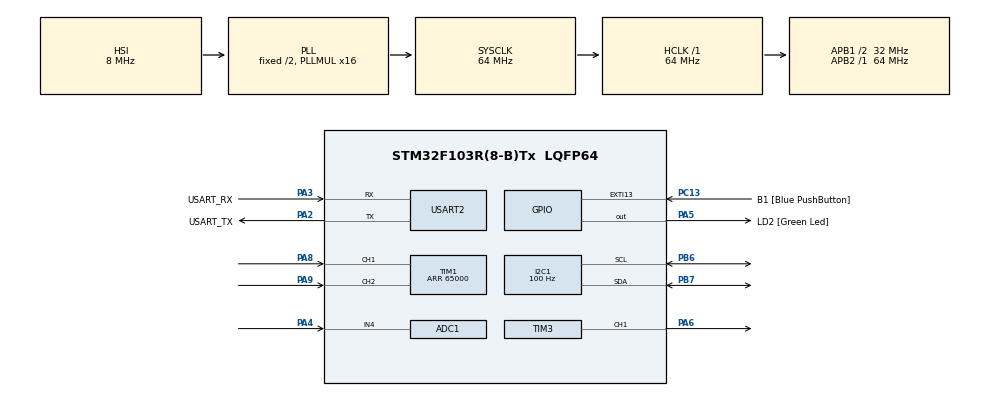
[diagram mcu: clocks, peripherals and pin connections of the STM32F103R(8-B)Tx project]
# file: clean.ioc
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ADC1.Channel-0\#ChannelRegularConversion=ADC_CHANNEL_4
ADC1.NbrOfConversionFlag=1
ADC1.Rank-0\#ChannelRegularConversion=1
ADC1.SamplingTime-0\#ChannelRegularConversion=ADC_SAMPLETIME_1CYCLE_5
ADC1.master=1
ARM.CMSIS.5.7.0.CMSISJjCORE=true
ARM.CMSIS.5.7.0.CMSISJjDSP=Library
I2C1.ClockSpeed=100
Mcu.Family=STM32F1
Mcu.Name=STM32F103R(8-B)Tx
Mcu.Package=LQFP64
NVIC.ADC1_2_IRQn=true\:0\:0\:false\:false\:true\:true\:true\:true
NVIC.EXTI15_10_IRQn=true\:0\:0\:false\:false\:true\:true\:true\:true
NVIC.PriorityGroup=NVIC_PRIORITYGROUP_4
NVIC.TIM2_IRQn=true\:0\:0\:false\:false\:true\:true\:true\:true
NVIC.USART2_IRQn=true\:0\:0\:false\:false\:true\:true\:true\:true
PA13.GPIO_Label=TMS
PA13.Mode=Serial_Wire
PA13.Signal=SYS_JTMS-SWDIO
PA14.GPIO_Label=TCK
PA14.Mode=Serial_Wire
PA14.Signal=SYS_JTCK-SWCLK
PA2.GPIO_Label=USART_TX
PA2.GPIO_Mode=GPIO_MODE_AF_PP
PA2.GPIO_PuPd=GPIO_NOPULL
PA2.GPIO_Speed=GPIO_SPEED_FREQ_LOW
PA2.Mode=Asynchronous
PA2.Signal=USART2_TX
PA3.GPIO_Label=USART_RX
PA3.GPIO_Mode=GPIO_MODE_AF_PP
PA3.GPIO_PuPd=GPIO_NOPULL
PA3.GPIO_Speed=GPIO_SPEED_FREQ_LOW
PA3.Mode=Asynchronous
PA3.Signal=USART2_RX
PA4.Signal=ADCx_IN4
PA5.GPIO_Label=LD2 [Green Led]
PA5.GPIO_ModeDefaultOutputPP=GPIO_MODE_OUTPUT_PP
PA5.GPIO_PuPd=GPIO_NOPULL
PA5.GPIO_Speed=GPIO_SPEED_FREQ_LOW
PA5.Signal=GPIO_Output
PA6.Signal=S_TIM3_CH1
PA8.Signal=S_TIM1_CH1
PA9.Signal=S_TIM1_CH2
PB3.GPIO_Label=SWO
PB3.Signal=SYS_JTDO-TRACESWO
PB6.Mode=I2C
PB6.Signal=I2C1_SCL
PB7.Mode=I2C
PB7.Signal=I2C1_SDA
PC13-TAMPER-RTC.GPIO_Label=B1 [Blue PushButton]
PC13-TAMPER-RTC.GPIO_PuPd=GPIO_NOPULL
PC13-TAMPER-RTC.Signal=GPXTI13
PC14-OSC32_IN.Mode=LSE-External-Oscillator
PC14-OSC32_IN.Signal=RCC_OSC32_IN
PC15-OSC32_OUT.Mode=LSE-External-Oscillator
PC15-OSC32_OUT.Signal=RCC_OSC32_OUT
PD0-OSC_IN.Mode=HSE-External-Clock-Source
PD0-OSC_IN.Signal=RCC_OSC_IN
PD1-OSC_OUT.Mode=HSE-External-Clock-Source
PD1-OSC_OUT.Signal=RCC_OSC_OUT
ProjectManager.HeapSize=0x200
ProjectManager.StackSize=0x400
ProjectManager.TargetToolchain=STM32CubeIDE
RCC.ADCPresc=RCC_ADCPCLK2_DIV6
RCC.AHBFreq_Value=64000000
RCC.APB1CLKDivider=RCC_HCLK_DIV2
RCC.APB1Freq_Value=32000000
RCC.APB1TimFreq_Value=64000000
RCC.APB2Freq_Value=64000000
RCC.APB2TimFreq_Value=64000000
RCC.HCLKFreq_Value=64000000
RCC.PLLMUL=RCC_PLL_MUL16
RCC.RTCClockSelection=RCC_RTCCLKSOURCE_LSE
RCC.SYSCLKFreq_VALUE=64000000
RCC.SYSCLKSource=RCC_SYSCLKSOURCE_PLLCLK
RCC.USBFreq_Value=64000000
SH.ADCx_IN4.0=ADC1_IN4,IN4
SH.S_TIM1_CH1.0=TIM1_CH1,Encoder_Interface
SH.S_TIM1_CH2.0=TIM1_CH2,Encoder_Interface
SH.S_TIM3_CH1.0=TIM3_CH1,PWM Generation1 CH1
TIM1.EncoderMode=TIM_ENCODERMODE_TI12
TIM1.Period=65000
TIM2.Period=9999
TIM2.Prescaler=6399
TIM3.Channel-PWM\ Generation1\ CH1=TIM_CHANNEL_1
TIM3.Period=999
TIM3.Prescaler=63
USART2.VirtualMode=VM_ASYNC
VP_ARM.CMSIS_VS_CMSISJjCORE_5.4.0_5.7.0.Mode=CMSISJjCORE
VP_ARM.CMSIS_VS_CMSISJjDSP_1.8.0_5.7.0.Mode=CMSISJjDSP
VP_TIM2_VS_ClockSourceINT.Mode=Internal
VP_TIM3_VS_ClockSourceINT.Mode=Internal
board=NUCLEO-F103RB

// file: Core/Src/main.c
/* USER CODE BEGIN Header */
/**
  ******************************************************************************
  * @file           : main.c
  * @brief          : Main program body
  ******************************************************************************
  * @attention
  *
  * Copyright (c) 2023 STMicroelectronics.
  * All rights reserved.
  *
  * This software is licensed under terms that can be found in the LICENSE file
  * in the root directory of this software component.
  * If no LICENSE file comes with this software, it is provided AS-IS.
  *
  ******************************************************************************
  */
/* USER CODE END Header */
#include "main.h"

/* USER CODE BEGIN Includes */
#include "BMPXX80.h"
#include "arm_math.h"
#include <string.h>
#include <stdlib.h>
#include <stdio.h>
/* USER CODE END Includes */

/* USER CODE BEGIN PD */
#define PID_KP 0.909
#define PID_KI 0.1
#define PID_KD -0.4737
#define WINDUP_UB 1000
#define WINDUP_LB 0
/* USER CODE END PD */

ADC_HandleTypeDef hadc1;

I2C_HandleTypeDef hi2c1;

TIM_HandleTypeDef htim1;
TIM_HandleTypeDef htim2;
TIM_HandleTypeDef htim3;

UART_HandleTypeDef huart2;

/* USER CODE BEGIN PV */
float temperature = 0.0;
float error = 0.0;
float temp_requested = 26.0;
float distance = 0.0;

char force_control[1] = {0};

uint32_t pressure = 0;
uint32_t duty = 1000;

char text[100] = "";
char input[4] = "";
/* USER CODE END PV */

void SystemClock_Config(void);
static void MX_GPIO_Init(void);
static void MX_USART2_UART_Init(void);
static void MX_I2C1_Init(void);
static void MX_TIM2_Init(void);
static void MX_TIM3_Init(void);
static void MX_ADC1_Init(void);
static void MX_TIM1_Init(void);

/* USER CODE BEGIN 0 */
// PID controller creation instance
arm_pid_instance_f32 PID_controller;

//duty saturation in range(0,1000)
void saturation(uint32_t duty_value){
	if (duty_value > WINDUP_UB){
		duty = 1000;
	}else if (duty_value < WINDUP_LB) {
		duty = 0;
	}
}

float absf(float value){
	if (value > 0.0){
		return value;
	}else if (value < 0.0){
		return value * -1;
	}
	return 0.0;
}
/* USER CODE END 0 */

int main(void)
{
  /* USER CODE BEGIN 1 */
	//PID gains assignment
	PID_controller.Kp = PID_KP;
	PID_controller.Ki = PID_KI;
	PID_controller.Kd = PID_KD;

	//PID Init
	arm_pid_init_f32(&PID_controller, 1);
  /* USER CODE END 1 */

  /* MCU Configuration--------------------------------------------------------*/

  /* Reset of all peripherals, Initializes the Flash interface and the Systick. */
  HAL_Init();

  /* Configure the system clock */
  SystemClock_Config();

  /* Initialize all configured peripherals */
  MX_GPIO_Init();
  MX_USART2_UART_Init();
  MX_I2C1_Init();
  MX_TIM2_Init();
  MX_TIM3_Init();
  MX_ADC1_Init();
  MX_TIM1_Init();
  /* USER CODE BEGIN 2 */
//   temperature sensor initialization
  BMP280_Init(&hi2c1, BMP280_TEMPERATURE_16BIT, BMP280_STANDARD, BMP280_FORCEDMODE);

  //UART interrupts initialization
  HAL_UART_Receive_IT(&huart2, (uint8_t*)input, 4);

//  Timer start for PWM generation and PID control logic
  HAL_TIM_Base_Start_IT(&htim2);
  HAL_TIM_PWM_Start(&htim3, TIM_CHANNEL_1);

//  Distance mode start
  HAL_ADC_Start_IT(&hadc1);

//  Encoder initialization
  HAL_TIM_Encoder_Init(&htim1, TIM_CHANNEL_ALL);

  /* USER CODE END 2 */

  /* Infinite loop */
  while (1)
  {

  }
}

void SystemClock_Config(void)
{
  RCC_OscInitTypeDef RCC_OscInitStruct = {0};
  RCC_ClkInitTypeDef RCC_ClkInitStruct = {0};
  RCC_PeriphCLKInitTypeDef PeriphClkInit = {0};

  /** Initializes the RCC Oscillators according to the specified parameters
  * in the RCC_OscInitTypeDef structure.
  */
  RCC_OscInitStruct.OscillatorType = RCC_OSCILLATORTYPE_HSI;
  RCC_OscInitStruct.HSIState = RCC_HSI_ON;
  RCC_OscInitStruct.HSICalibrationValue = RCC_HSICALIBRATION_DEFAULT;
  RCC_OscInitStruct.PLL.PLLState = RCC_PLL_ON;
  RCC_OscInitStruct.PLL.PLLSource = RCC_PLLSOURCE_HSI_DIV2;
  RCC_OscInitStruct.PLL.PLLMUL = RCC_PLL_MUL16;
  if (HAL_RCC_OscConfig(&RCC_OscInitStruct) != HAL_OK)
  {
    Error_Handler();
  }

  /** Initializes the CPU, AHB and APB buses clocks
  */
  RCC_ClkInitStruct.ClockType = RCC_CLOCKTYPE_HCLK|RCC_CLOCKTYPE_SYSCLK
                              |RCC_CLOCKTYPE_PCLK1|RCC_CLOCKTYPE_PCLK2;
  RCC_ClkInitStruct.SYSCLKSource = RCC_SYSCLKSOURCE_PLLCLK;
  RCC_ClkInitStruct.AHBCLKDivider = RCC_SYSCLK_DIV1;
  RCC_ClkInitStruct.APB1CLKDivider = RCC_HCLK_DIV2;
  RCC_ClkInitStruct.APB2CLKDivider = RCC_HCLK_DIV1;

  if (HAL_RCC_ClockConfig(&RCC_ClkInitStruct, FLASH_LATENCY_2) != HAL_OK)
  {
    Error_Handler();
  }
  PeriphClkInit.PeriphClockSelection = RCC_PERIPHCLK_ADC;
  PeriphClkInit.AdcClockSelection = RCC_ADCPCLK2_DIV6;
  if (HAL_RCCEx_PeriphCLKConfig(&PeriphClkInit) != HAL_OK)
  {
    Error_Handler();
  }
}

static void MX_ADC1_Init(void)
{

  ADC_ChannelConfTypeDef sConfig = {0};

  /** Common config
  */
  hadc1.Instance = ADC1;
  hadc1.Init.ScanConvMode = ADC_SCAN_DISABLE;
  hadc1.Init.ContinuousConvMode = DISABLE;
  hadc1.Init.DiscontinuousConvMode = DISABLE;
  hadc1.Init.ExternalTrigConv = ADC_SOFTWARE_START;
  hadc1.Init.DataAlign = ADC_DATAALIGN_RIGHT;
  hadc1.Init.NbrOfConversion = 1;
  if (HAL_ADC_Init(&hadc1) != HAL_OK)
  {
    Error_Handler();
  }

  /** Configure Regular Channel
  */
  sConfig.Channel = ADC_CHANNEL_4;
  sConfig.Rank = ADC_REGULAR_RANK_1;
  sConfig.SamplingTime = ADC_SAMPLETIME_1CYCLE_5;
  if (HAL_ADC_ConfigChannel(&hadc1, &sConfig) != HAL_OK)
  {
    Error_Handler();
  }

}

static void MX_I2C1_Init(void)
{

  hi2c1.Instance = I2C1;
  hi2c1.Init.ClockSpeed = 100;
  hi2c1.Init.DutyCycle = I2C_DUTYCYCLE_2;
  hi2c1.Init.OwnAddress1 = 0;
  hi2c1.Init.AddressingMode = I2C_ADDRESSINGMODE_7BIT;
  hi2c1.Init.DualAddressMode = I2C_DUALADDRESS_DISABLE;
  hi2c1.Init.OwnAddress2 = 0;
  hi2c1.Init.GeneralCallMode = I2C_GENERALCALL_DISABLE;
  hi2c1.Init.NoStretchMode = I2C_NOSTRETCH_DISABLE;
  if (HAL_I2C_Init(&hi2c1) != HAL_OK)
  {
    Error_Handler();
  }

}

static void MX_TIM1_Init(void)
{

  TIM_Encoder_InitTypeDef sConfig = {0};
  TIM_MasterConfigTypeDef sMasterConfig = {0};

  htim1.Instance = TIM1;
  htim1.Init.Prescaler = 0;
  htim1.Init.CounterMode = TIM_COUNTERMODE_UP;
  htim1.Init.Period = 65000;
  htim1.Init.ClockDivision = TIM_CLOCKDIVISION_DIV1;
  htim1.Init.RepetitionCounter = 0;
  htim1.Init.AutoReloadPreload = TIM_AUTORELOAD_PRELOAD_DISABLE;
  sConfig.EncoderMode = TIM_ENCODERMODE_TI12;
  sConfig.IC1Polarity = TIM_ICPOLARITY_RISING;
  sConfig.IC1Selection = TIM_ICSELECTION_DIRECTTI;
  sConfig.IC1Prescaler = TIM_ICPSC_DIV1;
  sConfig.IC1Filter = 0;
  sConfig.IC2Polarity = TIM_ICPOLARITY_RISING;
  sConfig.IC2Selection = TIM_ICSELECTION_DIRECTTI;
  sConfig.IC2Prescaler = TIM_ICPSC_DIV1;
  sConfig.IC2Filter = 0;
  if (HAL_TIM_Encoder_Init(&htim1, &sConfig) != HAL_OK)
  {
    Error_Handler();
  }
  sMasterConfig.MasterOutputTrigger = TIM_TRGO_RESET;
  sMasterConfig.MasterSlaveMode = TIM_MASTERSLAVEMODE_DISABLE;
  if (HAL_TIMEx_MasterConfigSynchronization(&htim1, &sMasterConfig) != HAL_OK)
  {
    Error_Handler();
  }

}

static void MX_TIM2_Init(void)
{

  TIM_ClockConfigTypeDef sClockSourceConfig = {0};
  TIM_MasterConfigTypeDef sMasterConfig = {0};

  htim2.Instance = TIM2;
  htim2.Init.Prescaler = 6399;
  htim2.Init.CounterMode = TIM_COUNTERMODE_UP;
  htim2.Init.Period = 9999;
  htim2.Init.ClockDivision = TIM_CLOCKDIVISION_DIV1;
  htim2.Init.AutoReloadPreload = TIM_AUTORELOAD_PRELOAD_DISABLE;
  if (HAL_TIM_Base_Init(&htim2) != HAL_OK)
  {
    Error_Handler();
  }
  sClockSourceConfig.ClockSource = TIM_CLOCKSOURCE_INTERNAL;
  if (HAL_TIM_ConfigClockSource(&htim2, &sClockSourceConfig) != HAL_OK)
  {
    Error_Handler();
  }
  sMasterConfig.MasterOutputTrigger = TIM_TRGO_RESET;
  sMasterConfig.MasterSlaveMode = TIM_MASTERSLAVEMODE_DISABLE;
  if (HAL_TIMEx_MasterConfigSynchronization(&htim2, &sMasterConfig) != HAL_OK)
  {
    Error_Handler();
  }

}

static void MX_TIM3_Init(void)
{

  TIM_ClockConfigTypeDef sClockSourceConfig = {0};
  TIM_MasterConfigTypeDef sMasterConfig = {0};
  TIM_OC_InitTypeDef sConfigOC = {0};

  htim3.Instance = TIM3;
  htim3.Init.Prescaler = 63;
  htim3.Init.CounterMode = TIM_COUNTERMODE_UP;
  htim3.Init.Period = 999;
  htim3.Init.ClockDivision = TIM_CLOCKDIVISION_DIV1;
  htim3.Init.AutoReloadPreload = TIM_AUTORELOAD_PRELOAD_DISABLE;
  if (HAL_TIM_Base_Init(&htim3) != HAL_OK)
  {
    Error_Handler();
  }
  sClockSourceConfig.ClockSource = TIM_CLOCKSOURCE_INTERNAL;
  if (HAL_TIM_ConfigClockSource(&htim3, &sClockSourceConfig) != HAL_OK)
  {
    Error_Handler();
  }
  if (HAL_TIM_PWM_Init(&htim3) != HAL_OK)
  {
    Error_Handler();
  }
  sMasterConfig.MasterOutputTrigger = TIM_TRGO_RESET;
  sMasterConfig.MasterSlaveMode = TIM_MASTERSLAVEMODE_DISABLE;
  if (HAL_TIMEx_MasterConfigSynchronization(&htim3, &sMasterConfig) != HAL_OK)
  {
    Error_Handler();
  }
  sConfigOC.OCMode = TIM_OCMODE_PWM1;
  sConfigOC.Pulse = 0;
  sConfigOC.OCPolarity = TIM_OCPOLARITY_HIGH;
  sConfigOC.OCFastMode = TIM_OCFAST_DISABLE;
  if (HAL_TIM_PWM_ConfigChannel(&htim3, &sConfigOC, TIM_CHANNEL_1) != HAL_OK)
  {
    Error_Handler();
  }
  HAL_TIM_MspPostInit(&htim3);

}

static void MX_USART2_UART_Init(void)
{

  huart2.Instance = USART2;
  huart2.Init.BaudRate = 115200;
  huart2.Init.WordLength = UART_WORDLENGTH_8B;
  huart2.Init.StopBits = UART_STOPBITS_1;
  huart2.Init.Parity = UART_PARITY_NONE;
  huart2.Init.Mode = UART_MODE_TX_RX;
  huart2.Init.HwFlowCtl = UART_HWCONTROL_NONE;
  huart2.Init.OverSampling = UART_OVERSAMPLING_16;
  if (HAL_UART_Init(&huart2) != HAL_OK)
  {
    Error_Handler();
  }

}

static void MX_GPIO_Init(void)
{
  GPIO_InitTypeDef GPIO_InitStruct = {0};

  /* GPIO Ports Clock Enable */
  __HAL_RCC_GPIOC_CLK_ENABLE();
  __HAL_RCC_GPIOD_CLK_ENABLE();
  __HAL_RCC_GPIOA_CLK_ENABLE();
  __HAL_RCC_GPIOB_CLK_ENABLE();

  /*Configure GPIO pin Output Level */
  HAL_GPIO_WritePin(LD2_GPIO_Port, LD2_Pin, GPIO_PIN_RESET);

  /*Configure GPIO pin : B1_Pin */
  GPIO_InitStruct.Pin = B1_Pin;
  GPIO_InitStruct.Mode = GPIO_MODE_IT_RISING;
  GPIO_InitStruct.Pull = GPIO_NOPULL;
  HAL_GPIO_Init(B1_GPIO_Port, &GPIO_InitStruct);

  /*Configure GPIO pin : LD2_Pin */
  GPIO_InitStruct.Pin = LD2_Pin;
  GPIO_InitStruct.Mode = GPIO_MODE_OUTPUT_PP;
  GPIO_InitStruct.Pull = GPIO_NOPULL;
  GPIO_InitStruct.Speed = GPIO_SPEED_FREQ_LOW;
  HAL_GPIO_Init(LD2_GPIO_Port, &GPIO_InitStruct);

  /* EXTI interrupt init*/
  HAL_NVIC_SetPriority(EXTI15_10_IRQn, 0, 0);
  HAL_NVIC_EnableIRQ(EXTI15_10_IRQn);

}

/* USER CODE BEGIN 4 */
// CONST measurement and data sending every 1s
void HAL_TIM_PeriodElapsedCallback(TIM_HandleTypeDef *htim) {
	if (htim->Instance == TIM2){
		BMP280_ReadTemperatureAndPressure(&temperature, &pressure);
		if (force_control[0] == 1){
			HAL_ADC_Start_IT(&hadc1);
		} else {
			error = absf(temp_requested - temperature);
			if (error == 0.0){
				duty = 0;
			}else {
				duty = (uint32_t) 100 * arm_pid_f32(&PID_controller, error);
			}
		}
		saturation(duty);

		//UART data sending for logging
		snprintf(text, sizeof(text), "{\"temperature\":\"%.2f\",\"ref\":\"%.2f\",\"u\":\"%.f\",\"error\":\"%.4f\"}\n\r", temperature, temp_requested,(float) 0.1 * duty, error);
		HAL_UART_Transmit(&huart2, (uint8_t*)text, strlen(text), 1000);
		text[0] = 0;
	}
	if (htim->Instance == TIM1){
		if (force_control[0] == 2){
			if(TIM2->CNT < 1023){
				duty = ((TIM1->CNT)<<6);
			}
		}
		saturation(duty);
	}
	__HAL_TIM_SET_COMPARE(&htim3, TIM_CHANNEL_1, duty);
}

// set temperature via UART implementation
void HAL_UART_RxCpltCallback ( UART_HandleTypeDef * huart ){
	float given = 0.01 * atof(input);

	if (given > 99.985){
		if (force_control[0] == 1){
			force_control[0] = 0;
		}else{
			force_control[0] = 1;
		}
	}else if ((given > 99.975) && (given < 99.985)){
		if (force_control[0] == 2){
			force_control[0] = 0;
		}else{
			force_control[0] = 2;
		}
	}else if (given > 0.0){
		temp_requested = given;
	}

	HAL_UART_Receive_IT(&huart2, (uint8_t*)input, 4);
}

// distance based control of PWM duty [LET THE FORCE BE WITH YOU MODE]
void HAL_ADC_ConvCpltCallback ( ADC_HandleTypeDef * hadc ){
	HAL_ADC_PollForConversion(&hadc1, HAL_MAX_DELAY);

	float AdcValue = HAL_ADC_GetValue(&hadc1);

	AdcValue /=  1000;
	distance = 27.82 * powf(AdcValue, -1.081);

	duty = distance * 25;
	saturation(duty);
}
/* USER CODE END 4 */

void Error_Handler(void)
{
  __disable_irq();
  while (1)
  {
  }
}
